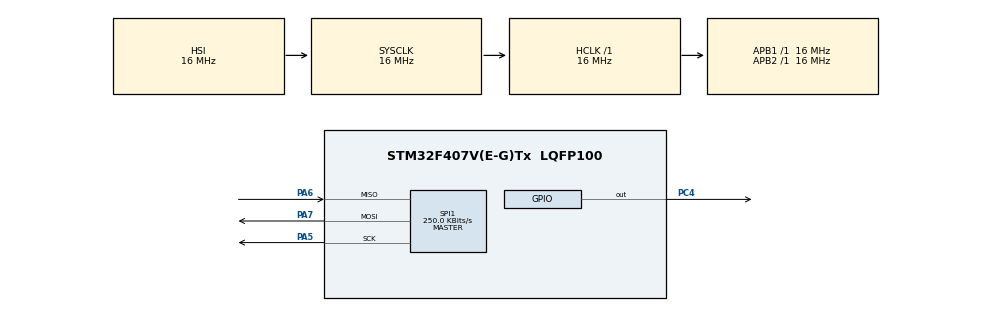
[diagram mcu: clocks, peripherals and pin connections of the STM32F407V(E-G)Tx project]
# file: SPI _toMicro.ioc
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Mcu.Family=STM32F4
Mcu.Name=STM32F407V(E-G)Tx
Mcu.Package=LQFP100
NVIC.PriorityGroup=NVIC_PRIORITYGROUP_4
PA13.Mode=Serial_Wire
PA13.Signal=SYS_JTMS-SWDIO
PA14.Mode=Serial_Wire
PA14.Signal=SYS_JTCK-SWCLK
PA5.Mode=Full_Duplex_Master
PA5.Signal=SPI1_SCK
PA6.Mode=Full_Duplex_Master
PA6.Signal=SPI1_MISO
PA7.Mode=Full_Duplex_Master
PA7.Signal=SPI1_MOSI
PC4.PinState=GPIO_PIN_SET
PC4.Signal=GPIO_Output
ProjectManager.HeapSize=0x200
ProjectManager.StackSize=0x400
ProjectManager.TargetToolchain=STM32CubeIDE
RCC.AHBFreq_Value=16000000
RCC.APB1Freq_Value=16000000
RCC.APB2Freq_Value=16000000
RCC.CortexFreq_Value=16000000
RCC.HSE_VALUE=25000000
RCC.HSI_VALUE=16000000
RCC.LSE_VALUE=32768
RCC.SYSCLKFreq_VALUE=16000000
RCC.VCOOutputFreq_Value=192000000
SPI1.BaudRatePrescaler=SPI_BAUDRATEPRESCALER_64
SPI1.CalculateBaudRate=250.0 KBits/s
SPI1.Direction=SPI_DIRECTION_2LINES
SPI1.Mode=SPI_MODE_MASTER
SPI1.VirtualType=VM_MASTER
board=custom

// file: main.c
/* USER CODE BEGIN Header */
/**
  ******************************************************************************
  * @file           : main.c
  * @brief          : Main program body
  ******************************************************************************
  * @attention
  *
  * Copyright (c) 2023 STMicroelectronics.
  * All rights reserved.
  *
  * This software is licensed under terms that can be found in the LICENSE file
  * in the root directory of this software component.
  * If no LICENSE file comes with this software, it is provided AS-IS.
  *
  ******************************************************************************
  */
/* USER CODE END Header */
#include "main.h"

/* USER CODE BEGIN Includes */
#include <stdio.h>
#include <string.h>
/* USER CODE END Includes */

/* USER CODE BEGIN PD */
char message[] = "HALLO";

/* USER CODE END PD */

SPI_HandleTypeDef hspi1;

void SystemClock_Config(void);
static void MX_GPIO_Init(void);
static void MX_SPI1_Init(void);

/* USER CODE BEGIN 0 */

int _write(int file, char *ptr, int len)
{
	int i=0;
	for(i=0 ; i<len ; i++)
	  ITM_SendChar((*ptr++));
	return len;
}

void send_data(char* message, SPI_HandleTypeDef* hspi)
{
    HAL_GPIO_WritePin(GPIOC, GPIO_PIN_4, GPIO_PIN_RESET);

    for (int i = 0; i < strlen(message); i++)
    {
        char character = message[i];
        HAL_SPI_Transmit(hspi, (uint8_t*)&character, 1, HAL_MAX_DELAY);
    }

    HAL_GPIO_WritePin(GPIOC, GPIO_PIN_4, GPIO_PIN_SET);
}

/* USER CODE END 0 */

int main(void)
{

  /* MCU Configuration--------------------------------------------------------*/

  /* Reset of all peripherals, Initializes the Flash interface and the Systick. */
  HAL_Init();

  /* Configure the system clock */
  SystemClock_Config();

  /* Initialize all configured peripherals */
  MX_GPIO_Init();
  MX_SPI1_Init();

  /* Infinite loop */
  /* USER CODE BEGIN WHILE */
  while (1)
  {

	  send_data(message, &hspi1);
//	  HAL_GPIO_WritePin(GPIOC, GPIO_PIN_4, GPIO_PIN_RESET);
//		for (int i = 0; i < 5; i++)
//		{
//			char character = message[i];
//			HAL_SPI_Transmit(&hspi1, (uint8_t*)&character, 1, 100);
//
//		}
//	  HAL_GPIO_WritePin(GPIOC, GPIO_PIN_4, GPIO_PIN_SET);
    /* USER CODE END WHILE */

  }
}

void SystemClock_Config(void)
{
  RCC_OscInitTypeDef RCC_OscInitStruct = {0};
  RCC_ClkInitTypeDef RCC_ClkInitStruct = {0};

  /** Configure the main internal regulator output voltage
  */
  __HAL_RCC_PWR_CLK_ENABLE();
  __HAL_PWR_VOLTAGESCALING_CONFIG(PWR_REGULATOR_VOLTAGE_SCALE1);

  /** Initializes the RCC Oscillators according to the specified parameters
  * in the RCC_OscInitTypeDef structure.
  */
  RCC_OscInitStruct.OscillatorType = RCC_OSCILLATORTYPE_HSI;
  RCC_OscInitStruct.HSIState = RCC_HSI_ON;
  RCC_OscInitStruct.HSICalibrationValue = RCC_HSICALIBRATION_DEFAULT;
  RCC_OscInitStruct.PLL.PLLState = RCC_PLL_NONE;
  if (HAL_RCC_OscConfig(&RCC_OscInitStruct) != HAL_OK)
  {
    Error_Handler();
  }

  /** Initializes the CPU, AHB and APB buses clocks
  */
  RCC_ClkInitStruct.ClockType = RCC_CLOCKTYPE_HCLK|RCC_CLOCKTYPE_SYSCLK
                              |RCC_CLOCKTYPE_PCLK1|RCC_CLOCKTYPE_PCLK2;
  RCC_ClkInitStruct.SYSCLKSource = RCC_SYSCLKSOURCE_HSI;
  RCC_ClkInitStruct.AHBCLKDivider = RCC_SYSCLK_DIV1;
  RCC_ClkInitStruct.APB1CLKDivider = RCC_HCLK_DIV1;
  RCC_ClkInitStruct.APB2CLKDivider = RCC_HCLK_DIV1;

  if (HAL_RCC_ClockConfig(&RCC_ClkInitStruct, FLASH_LATENCY_0) != HAL_OK)
  {
    Error_Handler();
  }
}

static void MX_SPI1_Init(void)
{

  /* SPI1 parameter configuration*/
  hspi1.Instance = SPI1;
  hspi1.Init.Mode = SPI_MODE_MASTER;
  hspi1.Init.Direction = SPI_DIRECTION_2LINES;
  hspi1.Init.DataSize = SPI_DATASIZE_8BIT;
  hspi1.Init.CLKPolarity = SPI_POLARITY_LOW;
  hspi1.Init.CLKPhase = SPI_PHASE_1EDGE;
  hspi1.Init.NSS = SPI_NSS_SOFT;
  hspi1.Init.BaudRatePrescaler = SPI_BAUDRATEPRESCALER_64;
  hspi1.Init.FirstBit = SPI_FIRSTBIT_MSB;
  hspi1.Init.TIMode = SPI_TIMODE_DISABLE;
  hspi1.Init.CRCCalculation = SPI_CRCCALCULATION_DISABLE;
  hspi1.Init.CRCPolynomial = 10;
  if (HAL_SPI_Init(&hspi1) != HAL_OK)
  {
    Error_Handler();
  }

}

static void MX_GPIO_Init(void)
{
  GPIO_InitTypeDef GPIO_InitStruct = {0};

  /* GPIO Ports Clock Enable */
  __HAL_RCC_GPIOA_CLK_ENABLE();
  __HAL_RCC_GPIOC_CLK_ENABLE();

  /*Configure GPIO pin Output Level */
  HAL_GPIO_WritePin(GPIOC, GPIO_PIN_4, GPIO_PIN_SET);

  /*Configure GPIO pin : PC4 */
  GPIO_InitStruct.Pin = GPIO_PIN_4;
  GPIO_InitStruct.Mode = GPIO_MODE_OUTPUT_PP;
  GPIO_InitStruct.Pull = GPIO_NOPULL;
  GPIO_InitStruct.Speed = GPIO_SPEED_FREQ_LOW;
  HAL_GPIO_Init(GPIOC, &GPIO_InitStruct);

}

void Error_Handler(void)
{
  __disable_irq();
  while (1)
  {
  }
}
